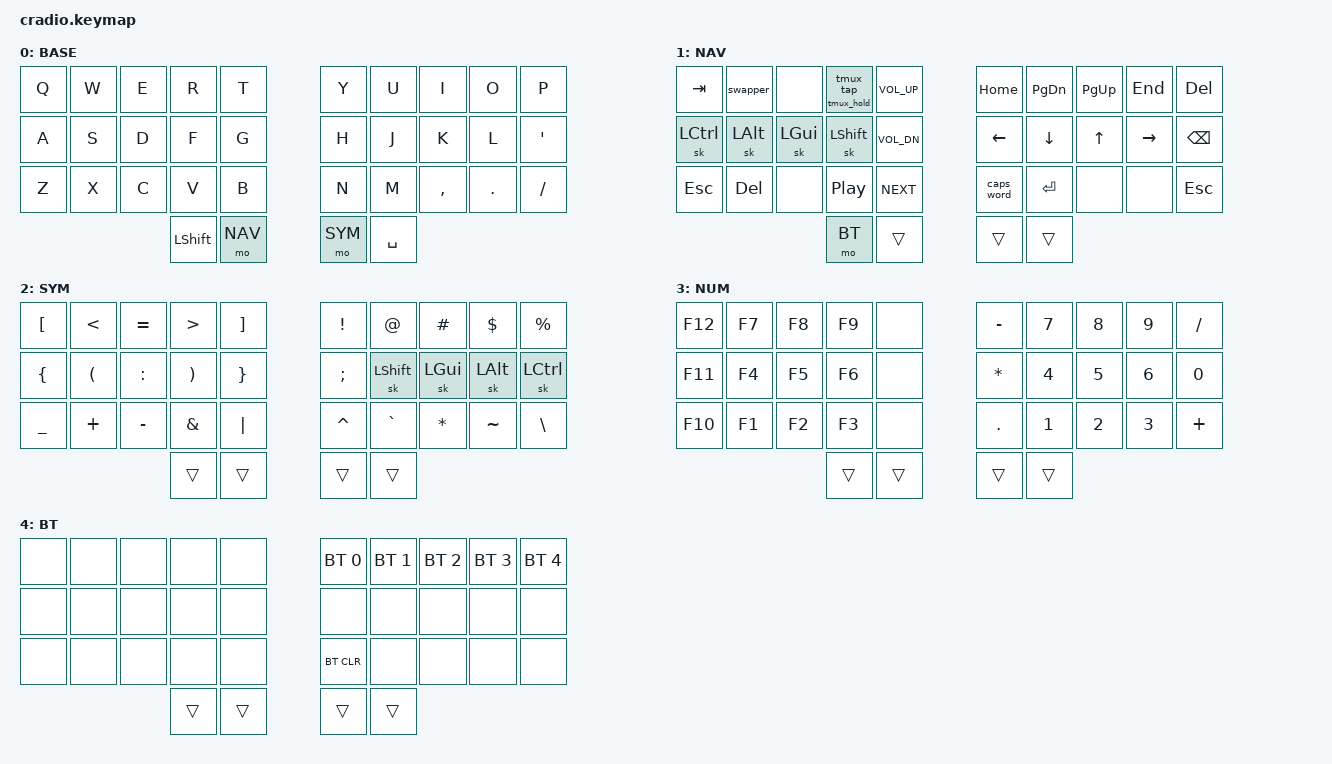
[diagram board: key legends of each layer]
// Copyright (c) 2022 The ZMK Contributors
// SPDX-License-Identifier: MIT

#include <behaviors.dtsi>
#include <dt-bindings/zmk/keys.h>
#include <dt-bindings/zmk/bt.h>
#include <dt-bindings/zmk/outputs.h>
#include <dt-bindings/zmk/ext_power.h>

#define BASE 0
#define NAV  1
#define SYM  2
#define NUM  3
#define BT   4

&sk {
  release-after-ms = <5000>;
  ignore-modifiers;
};

/ {
    conditional_layers {
        compatible = "zmk,conditional-layers";
        tri_layer {
            if-layers = <NAV SYM>;
            then-layer = <NUM>;
        };
    };

    behaviors {
        swapper: swapper {
            compatible = "zmk,behavior-tri-state";
            label = "SWAPPER";
            #binding-cells = <0>;
            bindings = <&kt LGUI>, <&kp TAB>, <&kt LGUI>;
        };

        tmux: tmux_prefix {
            compatible = "zmk,behavior-hold-tap";
            label = "TMUX_PREFIX";
            #binding-cells = <2>;
            tapping-term-ms = <200>;
            quick-tap-ms = <0>;
            flavor = "tap-preferred";
            bindings = <&tmux_hold>, <&tmux_tap>;
        };
    };

    macros {
        tmux_tap: tmux_tap {
            label = "TMUX_TAP";
            compatible = "zmk,behavior-macro";
            #binding-cells = <0>;
            bindings
                = <&macro_press &kp LCTRL>
                , <&macro_tap &kp S>
                , <&macro_release &kp LCTRL>
                ;
        };

        tmux_hold: tmux_hold {
            label = "TMUX_HOLD";
            compatible = "zmk,behavior-macro-one-param";
            #binding-cells = <1>;
            bindings
                = <&macro_press &kp LCTRL>
                , <&macro_tap &kp S>
                , <&macro_release &kp LCTRL>
                , <&macro_param_1to1>
                , <&macro_tap &kp MACRO_PLACEHOLDER>
                ;
        };
    };

    keymap {
        compatible = "zmk,keymap";
        base_layer {
            label = "BASE";
            bindings = <
        //╭──────────┬──────────┬──────────┬──────────┬──────────╮   ╭──────────┬──────────┬──────────┬──────────┬──────────╮
        //│ Q        │ W        │ E        │ R        │ T        │   │ Y        │ U        │ I        │ O        │ P        │
            &kp Q      &kp W      &kp E      &kp R      &kp T          &kp Y      &kp U      &kp I      &kp O      &kp P
        //├──────────┼──────────┼──────────┼──────────┼──────────┤   ├──────────┼──────────┼──────────┼──────────┼──────────┤
        //│ A        │ S        │ D        │ F        │ G        │   │ H        │ J        │ K        │ L        │ ' "      │
            &kp A      &kp S      &kp D      &kp F      &kp G          &kp H      &kp J      &kp K      &kp L      &kp SQT
        //├──────────┼──────────┼──────────┼──────────┼──────────┤   ├──────────┼──────────┼──────────┼──────────┼──────────┤
        //│ Z        │ X        │ C        │ V        │ B        │   │ N        │ M        │ , <      │ . >      │ / ?      │
            &kp Z      &kp X      &kp C      &kp V      &kp B          &kp N      &kp M      &kp COMMA  &kp DOT    &kp FSLH
        //╰──────────┴──────────┴──────────┼──────────┼──────────┤   ├──────────┼──────────┼──────────┴──────────┴──────────╯
                                            &kp LSHIFT  &mo NAV        &mo SYM    &kp SPACE
        //                                 ╰──────────┴──────────╯   ╰──────────┴──────────╯
            >;
        };

        nav_layer {
            label = "NAV";
            bindings = <
        //╭──────────┬──────────┬──────────┬──────────┬──────────╮   ╭──────────┬──────────┬──────────┬──────────┬──────────╮
        //│ TAB      │ SWAPPER  │          │ TMUX     │ VOL+     │   │ HOME     │ PAGE DN  │ PAGE UP  │ END      │ DEL      │
            &kp TAB    &swapper   &none      &tmux 0 0  &kp C_VOL_UP   &kp HOME   &kp PG_DN  &kp PG_UP  &kp END    &kp DEL
        //├──────────┼──────────┼──────────┼──────────┼──────────┤   ├──────────┼──────────┼──────────┼──────────┼──────────┤
        //│ CTRL     │ ALT      │ CMD/GUI  │ SHIFT    │ VOL-     │   │ LEFT     │ DOWN     │ UP       │ RIGHT    │ BKSPC    │
            &sk LCTRL  &sk LALT   &sk LGUI   &sk LSHIFT &kp C_VOL_DN   &kp LEFT   &kp DOWN   &kp UP     &kp RIGHT  &kp BSPC
        //├──────────┼──────────┼──────────┼──────────┼──────────┤   ├──────────┼──────────┼──────────┼──────────┼──────────┤
        //│          │          │          │ PLAY     │ NEXT     │   │ CAPSWORD │ ENTER    │          │          │ ESC      │
            &kp ESC    &kp DEL    &none      &kp C_PP   &kp C_NEXT     &caps_word &kp ENTER  &none      &none      &kp ESC
        //╰──────────┴──────────┴──────────┼──────────┼──────────┤   ├──────────┼──────────┼──────────┴──────────┴──────────╯
                                             &mo BT     &trans         &trans     &trans
        //                                 ╰──────────┴──────────╯   ╰──────────┴──────────╯
            >;
        };

        sym_layer {
            label = "SYM";
            bindings = <
        //╭──────────┬──────────┬──────────┬──────────┬──────────╮   ╭──────────┬──────────┬──────────┬──────────┬──────────╮
        //│ [        │ <        │ =        │ >        │ ]        │   │ !        │ @        │ #        │ $        │ %        │
            &kp LBKT   &kp LT     &kp EQUAL  &kp GT     &kp RBKT       &kp EXCL   &kp AT     &kp HASH   &kp DLLR   &kp PRCNT
        //├──────────┼──────────┼──────────┼──────────┼──────────┤   ├──────────┼──────────┼──────────┼──────────┼──────────┤
        //│ {        │ (        │ :        │ )        │ }        │   │ ;        │ SHIFT    │ CMD/GUI  │ ALT      │ CTRL     │
            &kp LBRC   &kp LPAR   &kp COLON  &kp RPAR   &kp RBRC       &kp SEMI   &sk LSHIFT &sk LGUI   &sk LALT   &sk LCTRL
        //├──────────┼──────────┼──────────┼──────────┼──────────┤   ├──────────┼──────────┼──────────┼──────────┼──────────┤
        //│ _        │ +        │ -        │ &        │ |        │   │ ^        │ `        │ *        │ ~        │ \        │
            &kp UNDER  &kp PLUS   &kp MINUS  &kp AMPS   &kp PIPE       &kp CARET  &kp GRAVE  &kp STAR   &kp TILDE  &kp BSLH
        //╰──────────┴──────────┴──────────┼──────────┼──────────┤   ├──────────┼──────────┼──────────┴──────────┴──────────╯
                                             &trans     &trans         &trans     &trans
        //                                 ╰──────────┴──────────╯   ╰──────────┴──────────╯
            >;
        };

        num_layer {
            label = "NUM";
            bindings = <
        //╭──────────┬──────────┬──────────┬──────────┬──────────╮   ╭──────────┬──────────┬──────────┬──────────┬──────────╮
        //│ F12      │ F7       │ F8       │ F9       │          │   │ -        │ 7        │ 8        │ 9        │ /        │
            &kp F12    &kp F7     &kp F8     &kp F9     &none          &kp MINUS  &kp N7     &kp N8     &kp N9     &kp FSLH
        //├──────────┼──────────┼──────────┼──────────┼──────────┤   ├──────────┼──────────┼──────────┼──────────┼──────────┤
        //│ F11      │ F4       │ F5       │ F6       │          │   │ *        │ 4        │ 5        │ 6        │ 0        │
            &kp F11    &kp F4     &kp F5     &kp F6     &none          &kp STAR   &kp N4     &kp N5     &kp N6     &kp N0
        //├──────────┼──────────┼──────────┼──────────┼──────────┤   ├──────────┼──────────┼──────────┼──────────┼──────────┤
        //│ F10      │ F1       │ F2       │ F3       │          │   │ .        │ 1        │ 2        │ 3        │ +        │
            &kp F10    &kp F1     &kp F2     &kp F3     &none          &kp DOT    &kp N1     &kp N2     &kp N3     &kp PLUS
        //╰──────────┴──────────┴──────────┼──────────┼──────────┤   ├──────────┼──────────┼──────────┴──────────┴──────────╯
                                             &trans     &trans         &trans     &trans
        //                                 ╰──────────┴──────────╯   ╰──────────┴──────────╯
            >;
        };

        bt_layer {
            label = "BT";
            bindings = <
        //╭──────────┬──────────┬──────────┬──────────┬──────────╮   ╭─────────────┬─────────────┬─────────────┬─────────────┬─────────────╮
        //│          │          │          │          │          │   │             │             │             │             │             │
            &none      &none      &none      &none      &none          &bt BT_SEL 0  &bt BT_SEL 1  &bt BT_SEL 2  &bt BT_SEL 3  &bt BT_SEL 4
        //├──────────┼──────────┼──────────┼──────────┼──────────┤   ├─────────────┼─────────────┼─────────────┼─────────────┼─────────────┤
        //│          │          │          │          │          │   │             │             │             │             │             │
            &none      &none      &none      &none      &none          &none         &none         &none         &none         &none
        //├──────────┼──────────┼──────────┼──────────┼──────────┤   ├─────────────┼─────────────┼─────────────┼─────────────┼─────────────┤
        //│          │          │          │          │          │   │             │             │             │             │             │
            &none      &none      &none      &none      &none          &bt BT_CLR    &none         &none         &none         &none
        //╰──────────┴──────────┴──────────┼──────────┼──────────┤   ├─────────────┼─────────────┼─────────────┴─────────────┴─────────────╯
                                             &trans     &trans         &trans        &trans
        //                                 ╰──────────┴──────────╯   ╰─────────────┴─────────────╯
            >;
        };
    };
};
